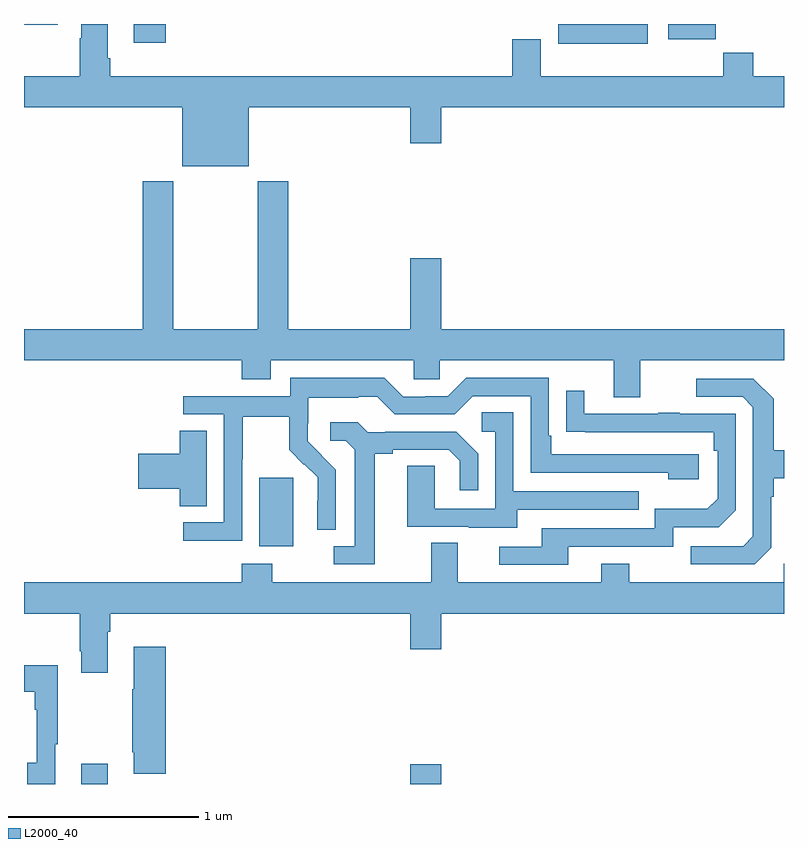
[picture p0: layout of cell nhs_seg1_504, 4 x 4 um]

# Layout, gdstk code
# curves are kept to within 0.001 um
import gdstk
lib = gdstk.Library(unit=1e-6, precision=1e-09)
def R(c, l, rs):  # rectangles x0, y0, x1, y1
    for r in rs: c.add(gdstk.rectangle(r[:2], r[2:], *l))
def P(c, l, *ps):  # polygons
    for p in ps: c.add(gdstk.Polygon(p, *l))
L2000_40 = (2000, 40)

nhs_seg1_504 = lib.new_cell('nhs_seg1_504')
R(nhs_seg1_504, L2000_40, [(139.301,520.199,139.441,520.306), (141.032,520.199,141.196,520.303), (140.237,521.45,140.416,521.811), (141.812,524.096,142.282,524.199), (139.577,524.1,139.745,524.199), (142.391,524.118,142.64,524.199), (139,524.195,139.177,524.199)])
P(nhs_seg1_504, L2000_40, [(140.182,523.76),(141.032,523.76),(141.032,523.572),(141.196,523.572),(141.196,523.76),(143,523.76),(143,523.924),(142.838,523.924),(142.838,524.048),(142.681,524.048),(142.681,523.924),(141.721,523.924),(141.721,524.119),(141.569,524.119),(141.569,523.924),(139.454,523.924),(139.454,524.02),(139.441,524.02),(139.441,524.199),(139.301,524.199),(139.301,524.123),(139.294,524.123),(139.294,523.924),(139,523.924),(139,523.76),(139.832,523.76),(139.832,523.451),(140.182,523.451)],
  [(142.243,522.428),(143,522.428),(143,522.592),(141.196,522.592),(141.196,522.967),(141.032,522.967),(141.032,522.592),(140.39,522.592),(140.39,523.371),(140.23,523.371),(140.23,522.592),(139.785,522.592),(139.785,523.371),(139.625,523.371),(139.625,522.592),(139,522.592),(139,522.428),(140.147,522.428),(140.147,522.329),(140.299,522.329),(140.299,522.428),(141.051,522.428),(141.051,522.33),(141.189,522.33),(141.189,522.428),(142.103,522.428),(142.103,522.234),(142.243,522.234)],
  [(140.148,521.908),(140.151,521.908),(140.151,522.132),(140.395,522.132),(140.395,521.957),(140.472,521.88),(140.475,521.883),(140.546,521.813),(140.546,521.69),(140.544,521.69),(140.544,521.536),(140.64,521.536),(140.64,521.854),(140.494,522.002),(140.494,522.099),(140.496,522.099),(140.496,522.233),(140.759,522.233),(140.759,522.237),(140.859,522.237),(140.952,522.144),(141.267,522.144),(141.363,522.24),(141.666,522.24),(141.666,521.838),(142.391,521.838),(142.391,521.804),(142.552,521.804),(142.552,521.934),(141.775,521.934),(141.775,522.031),(141.762,522.031),(141.762,522.336),(141.327,522.336),(141.231,522.24),(141.113,522.24),(141.113,522.237),(140.997,522.237),(140.897,522.337),(140.4,522.337),(140.4,522.24),(139.839,522.24),(139.839,522.144),(140.052,522.144),(140.052,521.577),(139.839,521.577),(139.839,521.479),(140.148,521.479)],
  [(142.932,521.442),(142.932,521.711),(142.945,521.711),(142.945,521.807),(143,521.807),(143,521.955),(142.945,521.955),(142.945,522.227),(142.839,522.333),(142.539,522.333),(142.539,522.237),(142.782,522.237),(142.836,522.183),(142.836,521.502),(142.785,521.451),(142.509,521.451),(142.509,521.355),(142.845,521.355)],
  [(141.865,521.448),(142.416,521.448),(142.416,521.55),(142.656,521.55),(142.746,521.64),(142.746,522.147),(142.451,522.147),(142.451,522.152),(142.339,522.152),(142.339,522.147),(141.949,522.147),(141.949,522.27),(141.853,522.27),(141.853,522.052),(142.63,522.051),(142.63,521.954),(142.65,521.954),(142.65,521.7),(142.597,521.647),(142.32,521.647),(142.32,521.544),(141.725,521.544),(141.725,521.448),(141.501,521.448),(141.501,521.352),(141.865,521.352)],
  [(141.595,521.643),(142.235,521.643),(142.235,521.739),(141.576,521.739),(141.576,522.155),(141.408,522.155),(141.408,522.054),(141.48,522.054),(141.48,521.649),(141.162,521.649),(141.162,521.873),(141.017,521.873),(141.017,521.553),(141.341,521.553),(141.341,521.549),(141.595,521.549)],
  [(140.845,521.936),(140.941,521.936),(140.941,521.958),(141.236,521.958),(141.293,521.901),(141.293,521.745),(141.39,521.745),(141.39,521.938),(141.274,522.054),(140.902,522.054),(140.902,522.051),(140.808,522.051),(140.756,522.103),(140.613,522.103),(140.613,522.006),(140.694,522.006),(140.741,521.959),(140.741,521.451),(140.631,521.451),(140.631,521.355),(140.845,521.355)],
  [(139.963,522.059),(139.82,522.059),(139.82,521.936),(139.602,521.936),(139.602,521.753),(139.82,521.753),(139.82,521.662),(139.963,521.662)],
  [(139.441,521),(139.454,521),(139.454,521.096),(141.032,521.096),(141.032,520.908),(141.196,520.908),(141.196,521.096),(143,521.096),(143,521.359),(142.998,521.359),(142.998,521.26),(142.185,521.26),(142.185,521.359),(142.037,521.359),(142.037,521.26),(141.283,521.26),(141.283,521.468),(141.143,521.468),(141.143,521.26),(140.307,521.26),(140.307,521.359),(140.147,521.359),(140.147,521.26),(139,521.26),(139,521.096),(139.294,521.096),(139.294,520.897),(139.301,520.897),(139.301,520.785),(139.441,520.785)],
  [(139.745,520.921),(139.577,520.921),(139.577,520.697),(139.57,520.697),(139.57,520.366),(139.577,520.366),(139.577,520.254),(139.745,520.254)],
  [(139.165,520.409),(139.177,520.409),(139.177,520.825),(139,520.825),(139,520.685),(139.056,520.685),(139.056,520.589),(139.068,520.589),(139.068,520.31),(139.017,520.31),(139.017,520.199),(139.165,520.199)])

lib.write_gds('nhs_seg1_504.gds')
